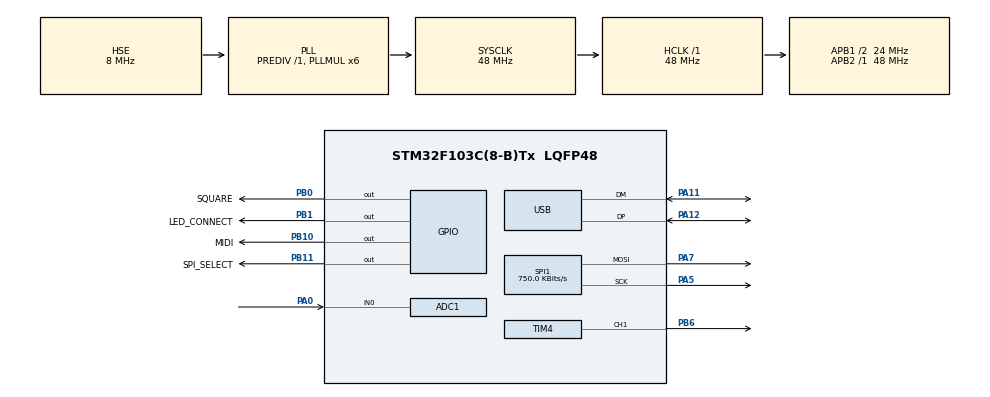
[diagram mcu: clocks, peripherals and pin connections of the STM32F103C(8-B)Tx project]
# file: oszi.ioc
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ADC1.Channel-0\#ChannelRegularConversion=ADC_CHANNEL_0
ADC1.NbrOfConversionFlag=1
ADC1.Rank-0\#ChannelRegularConversion=1
ADC1.SamplingTime-0\#ChannelRegularConversion=ADC_SAMPLETIME_1CYCLE_5
ADC1.master=1
Mcu.Family=STM32F1
Mcu.Name=STM32F103C(8-B)Tx
Mcu.Package=LQFP48
NVIC.ADC1_2_IRQn=true\:0\:0\:false\:false\:true\:true\:true
NVIC.PriorityGroup=NVIC_PRIORITYGROUP_4
NVIC.TIM2_IRQn=true\:0\:0\:false\:false\:true\:true\:true
NVIC.USB_LP_CAN1_RX0_IRQn=true\:0\:0\:false\:false\:true\:false\:true
PA0-WKUP.Signal=ADCx_IN0
PA11.Mode=Device
PA11.Signal=USB_DM
PA12.Mode=Device
PA12.Signal=USB_DP
PA13.Mode=Serial_Wire
PA13.Signal=SYS_JTMS-SWDIO
PA14.Mode=Serial_Wire
PA14.Signal=SYS_JTCK-SWCLK
PA5.Mode=TX_Only_Simplex_Unidirect_Master
PA5.Signal=SPI1_SCK
PA7.Mode=TX_Only_Simplex_Unidirect_Master
PA7.Signal=SPI1_MOSI
PB0.GPIO_Label=SQUARE
PB0.GPIO_PuPd=GPIO_PULLDOWN
PB0.GPIO_Speed=GPIO_SPEED_FREQ_HIGH
PB0.Signal=GPIO_Output
PB1.GPIO_Label=LED_CONNECT
PB1.Signal=GPIO_Output
PB10.GPIO_Label=MIDI
PB10.Signal=GPIO_Output
PB11.GPIO_Label=SPI_SELECT
PB11.GPIO_PuPd=GPIO_PULLUP
PB11.PinState=GPIO_PIN_SET
PB11.Signal=GPIO_Output
PB6.Signal=S_TIM4_CH1
PC14-OSC32_IN.Mode=LSE-External-Oscillator
PC14-OSC32_IN.Signal=RCC_OSC32_IN
PC15-OSC32_OUT.Mode=LSE-External-Oscillator
PC15-OSC32_OUT.Signal=RCC_OSC32_OUT
PD0-OSC_IN.Mode=HSE-External-Oscillator
PD0-OSC_IN.Signal=RCC_OSC_IN
PD1-OSC_OUT.Mode=HSE-External-Oscillator
PD1-OSC_OUT.Signal=RCC_OSC_OUT
ProjectManager.HeapSize=0x200
ProjectManager.StackSize=0x400
ProjectManager.TargetToolchain=Makefile
RCC.ADCPresc=RCC_ADCPCLK2_DIV4
RCC.AHBFreq_Value=48000000
RCC.APB1CLKDivider=RCC_HCLK_DIV2
RCC.APB1Freq_Value=24000000
RCC.APB1TimFreq_Value=48000000
RCC.APB2Freq_Value=48000000
RCC.APB2TimFreq_Value=48000000
RCC.HCLKFreq_Value=48000000
RCC.PLLMUL=RCC_PLL_MUL6
RCC.SYSCLKFreq_VALUE=48000000
RCC.SYSCLKSource=RCC_SYSCLKSOURCE_PLLCLK
RCC.USBFreq_Value=48000000
SH.ADCx_IN0.0=ADC1_IN0,IN0
SH.S_TIM4_CH1.0=TIM4_CH1,PWM Generation1 CH1
SPI1.BaudRatePrescaler=SPI_BAUDRATEPRESCALER_64
SPI1.CalculateBaudRate=750.0 KBits/s
SPI1.DataSize=SPI_DATASIZE_16BIT
SPI1.Direction=SPI_DIRECTION_2LINES
SPI1.Mode=SPI_MODE_MASTER
SPI1.VirtualType=VM_MASTER
TIM2.AutoReloadPreload=TIM_AUTORELOAD_PRELOAD_ENABLE
TIM2.Period=1000
TIM2.Prescaler=48
TIM4.AutoReloadPreload=TIM_AUTORELOAD_PRELOAD_ENABLE
TIM4.Channel-PWM\ Generation1\ CH1=TIM_CHANNEL_1
TIM4.OCFastMode_PWM-PWM\ Generation1\ CH1=TIM_OCFAST_ENABLE
TIM4.Period=1136 -1
TIM4.Prescaler=96 - 1
TIM4.Pulse-PWM\ Generation1\ CH1=10
TIM4.TIM_MasterOutputTrigger=TIM_TRGO_UPDATE
USB_DEVICE.CLASS_NAME_FS=CDC
USB_DEVICE.MANUFACTURER_STRING=elektrophon
USB_DEVICE.PRODUCT_STRING_CDC_FS=oszillator
USB_DEVICE.VirtualMode=Cdc
USB_DEVICE.VirtualModeFS=Cdc_FS
VP_TIM2_VS_ClockSourceINT.Mode=Internal
VP_TIM4_VS_ClockSourceINT.Mode=Internal
VP_USB_DEVICE_VS_USB_DEVICE_CDC_FS.Mode=CDC_FS
board=custom

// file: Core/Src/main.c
/* USER CODE BEGIN Header */
/**
  ******************************************************************************
  * @file           : main.c
  * @brief          : Main program body
  ******************************************************************************
  * @attention
  *
  * <h2><center>&copy; Copyright (c) 2021 STMicroelectronics.
  * All rights reserved.</center></h2>
  *
  * This software component is licensed by ST under Ultimate Liberty license
  * SLA0044, the "License"; You may not use this file except in compliance with
  * the License. You may obtain a copy of the License at:
  *                             www.st.com/SLA0044
  *
  ******************************************************************************
  */
/* USER CODE END Header */
#include "main.h"
#include "usb_device.h"

/* USER CODE BEGIN Includes */
#include "usbd_midi_if.h"
#include <math.h>
/* USER CODE END Includes */

/* USER CODE BEGIN PTD */
#define SPI_DAC_MULTIPLIER 0.552824907636779 // see spreadsheet
extern USBD_HandleTypeDef hUsbDeviceFS;
/* USER CODE END PTD */

ADC_HandleTypeDef hadc1;

SPI_HandleTypeDef hspi1;

TIM_HandleTypeDef htim2;
TIM_HandleTypeDef htim4;

void SystemClock_Config(void);
static void MX_GPIO_Init(void);
static void MX_TIM4_Init(void);
static void MX_TIM2_Init(void);
static void MX_ADC1_Init(void);
static void MX_SPI1_Init(void);

/* USER CODE BEGIN 0 */
void write_dac(float _freq) {
  float value = SPI_DAC_MULTIPLIER * _freq;
  uint16_t word[1];
  word[0] = value;
  word[0] |= 0x1000;

  // write data to register
  HAL_GPIO_WritePin (SPI_SELECT_GPIO_Port, SPI_SELECT_Pin, GPIO_PIN_RESET);  // pull the cs pin low
  if (HAL_SPI_Transmit (&hspi1, (uint8_t *)word, 2, 100) != HAL_OK) {
    Error_Handler();
  }
  HAL_GPIO_WritePin (SPI_SELECT_GPIO_Port, SPI_SELECT_Pin, GPIO_PIN_SET);  // pull the cs pin high
}
void note_on(uint8_t channel, uint8_t note, uint8_t velocity) {
        HAL_GPIO_WritePin(MIDI_GPIO_Port, MIDI_Pin, SET);
         float prescaler = 96;
         float cpu_freq = 48000000;
         float _note = note-69;
         float _freq = pow(2, (_note) / 12) * 440;
         float _arr = (cpu_freq / prescaler) / _freq;
         TIM4->ARR =  ((int)_arr) - 1;
         write_dac(_freq);
}
void note_off(uint8_t channel, uint8_t note, uint8_t velocity) {
        HAL_GPIO_WritePin(MIDI_GPIO_Port, MIDI_Pin, RESET);
}
void midi_process() {

	// for( unsigned char i = 0; i<MIDI_CHANNELS; i++ ) {
	// 	if( trigger_timer[i] != 0 && trigger_timer[i] < HAL_GetTick() ) {
	// 		HAL_GPIO_WritePin(SIG_TRIGGER_1_GPIO_Port, SIG_TRIGGER_1_Pin, SET);
	// 		trigger_timer[i] = 0;
	// 	}
	// }
}
/* USER CODE END 0 */

int main(void)
{

  /* MCU Configuration--------------------------------------------------------*/

  /* Reset of all peripherals, Initializes the Flash interface and the Systick. */
  HAL_Init();

  /* Configure the system clock */
  SystemClock_Config();

  /* Initialize all configured peripherals */
  MX_GPIO_Init();
  MX_TIM4_Init();
  MX_USB_DEVICE_Init();
  MX_TIM2_Init();
  MX_ADC1_Init();
  MX_SPI1_Init();
  /* USER CODE BEGIN 2 */
  HAL_GPIO_TogglePin(SQUARE_GPIO_Port, SQUARE_Pin);
  HAL_GPIO_WritePin(MIDI_GPIO_Port, MIDI_Pin, SET);
  HAL_GPIO_WritePin(LED_CONNECT_GPIO_Port, LED_CONNECT_Pin, SET);
  HAL_Delay(1000);
  HAL_GPIO_TogglePin(SQUARE_GPIO_Port, SQUARE_Pin);
  HAL_GPIO_WritePin(MIDI_GPIO_Port, MIDI_Pin, RESET);

  mimuz_init();

  //register the MIDI call backs
  setHdlNoteOff(note_off);
  setHdlNoteOn(note_on);

  //  HAL_TIM_Base_Start_IT(&htim4);
  HAL_TIM_Base_Start(&htim4);
  HAL_TIM_PWM_Init(&htim4);
  HAL_TIM_PWM_Start(&htim4, TIM_CHANNEL_1);

  HAL_TIM_Base_Start_IT(&htim2);
  /* USER CODE END 2 */

  /* Infinite loop */
  while (1)
  {

  }
}

void SystemClock_Config(void)
{
  RCC_OscInitTypeDef RCC_OscInitStruct = {0};
  RCC_ClkInitTypeDef RCC_ClkInitStruct = {0};
  RCC_PeriphCLKInitTypeDef PeriphClkInit = {0};

  /** Initializes the RCC Oscillators according to the specified parameters
  * in the RCC_OscInitTypeDef structure.
  */
  RCC_OscInitStruct.OscillatorType = RCC_OSCILLATORTYPE_HSE;
  RCC_OscInitStruct.HSEState = RCC_HSE_ON;
  RCC_OscInitStruct.HSEPredivValue = RCC_HSE_PREDIV_DIV1;
  RCC_OscInitStruct.HSIState = RCC_HSI_ON;
  RCC_OscInitStruct.PLL.PLLState = RCC_PLL_ON;
  RCC_OscInitStruct.PLL.PLLSource = RCC_PLLSOURCE_HSE;
  RCC_OscInitStruct.PLL.PLLMUL = RCC_PLL_MUL6;
  if (HAL_RCC_OscConfig(&RCC_OscInitStruct) != HAL_OK)
  {
    Error_Handler();
  }
  /** Initializes the CPU, AHB and APB buses clocks
  */
  RCC_ClkInitStruct.ClockType = RCC_CLOCKTYPE_HCLK|RCC_CLOCKTYPE_SYSCLK
                              |RCC_CLOCKTYPE_PCLK1|RCC_CLOCKTYPE_PCLK2;
  RCC_ClkInitStruct.SYSCLKSource = RCC_SYSCLKSOURCE_PLLCLK;
  RCC_ClkInitStruct.AHBCLKDivider = RCC_SYSCLK_DIV1;
  RCC_ClkInitStruct.APB1CLKDivider = RCC_HCLK_DIV2;
  RCC_ClkInitStruct.APB2CLKDivider = RCC_HCLK_DIV1;

  if (HAL_RCC_ClockConfig(&RCC_ClkInitStruct, FLASH_LATENCY_1) != HAL_OK)
  {
    Error_Handler();
  }
  PeriphClkInit.PeriphClockSelection = RCC_PERIPHCLK_ADC|RCC_PERIPHCLK_USB;
  PeriphClkInit.AdcClockSelection = RCC_ADCPCLK2_DIV4;
  PeriphClkInit.UsbClockSelection = RCC_USBCLKSOURCE_PLL;
  if (HAL_RCCEx_PeriphCLKConfig(&PeriphClkInit) != HAL_OK)
  {
    Error_Handler();
  }
}

static void MX_ADC1_Init(void)
{

  ADC_ChannelConfTypeDef sConfig = {0};

  /** Common config
  */
  hadc1.Instance = ADC1;
  hadc1.Init.ScanConvMode = ADC_SCAN_DISABLE;
  hadc1.Init.ContinuousConvMode = DISABLE;
  hadc1.Init.DiscontinuousConvMode = DISABLE;
  hadc1.Init.ExternalTrigConv = ADC_SOFTWARE_START;
  hadc1.Init.DataAlign = ADC_DATAALIGN_RIGHT;
  hadc1.Init.NbrOfConversion = 1;
  if (HAL_ADC_Init(&hadc1) != HAL_OK)
  {
    Error_Handler();
  }
  /** Configure Regular Channel
  */
  sConfig.Channel = ADC_CHANNEL_0;
  sConfig.Rank = ADC_REGULAR_RANK_1;
  sConfig.SamplingTime = ADC_SAMPLETIME_1CYCLE_5;
  if (HAL_ADC_ConfigChannel(&hadc1, &sConfig) != HAL_OK)
  {
    Error_Handler();
  }

}

static void MX_SPI1_Init(void)
{

  /* SPI1 parameter configuration*/
  hspi1.Instance = SPI1;
  hspi1.Init.Mode = SPI_MODE_MASTER;
  hspi1.Init.Direction = SPI_DIRECTION_2LINES;
  hspi1.Init.DataSize = SPI_DATASIZE_16BIT;
  hspi1.Init.CLKPolarity = SPI_POLARITY_LOW;
  hspi1.Init.CLKPhase = SPI_PHASE_1EDGE;
  hspi1.Init.NSS = SPI_NSS_SOFT;
  hspi1.Init.BaudRatePrescaler = SPI_BAUDRATEPRESCALER_64;
  hspi1.Init.FirstBit = SPI_FIRSTBIT_MSB;
  hspi1.Init.TIMode = SPI_TIMODE_DISABLE;
  hspi1.Init.CRCCalculation = SPI_CRCCALCULATION_DISABLE;
  hspi1.Init.CRCPolynomial = 10;
  if (HAL_SPI_Init(&hspi1) != HAL_OK)
  {
    Error_Handler();
  }

}

static void MX_TIM2_Init(void)
{

  TIM_ClockConfigTypeDef sClockSourceConfig = {0};
  TIM_MasterConfigTypeDef sMasterConfig = {0};

  htim2.Instance = TIM2;
  htim2.Init.Prescaler = 48;
  htim2.Init.CounterMode = TIM_COUNTERMODE_UP;
  htim2.Init.Period = 1000;
  htim2.Init.ClockDivision = TIM_CLOCKDIVISION_DIV1;
  htim2.Init.AutoReloadPreload = TIM_AUTORELOAD_PRELOAD_ENABLE;
  if (HAL_TIM_Base_Init(&htim2) != HAL_OK)
  {
    Error_Handler();
  }
  sClockSourceConfig.ClockSource = TIM_CLOCKSOURCE_INTERNAL;
  if (HAL_TIM_ConfigClockSource(&htim2, &sClockSourceConfig) != HAL_OK)
  {
    Error_Handler();
  }
  sMasterConfig.MasterOutputTrigger = TIM_TRGO_RESET;
  sMasterConfig.MasterSlaveMode = TIM_MASTERSLAVEMODE_DISABLE;
  if (HAL_TIMEx_MasterConfigSynchronization(&htim2, &sMasterConfig) != HAL_OK)
  {
    Error_Handler();
  }

}

static void MX_TIM4_Init(void)
{

  TIM_ClockConfigTypeDef sClockSourceConfig = {0};
  TIM_MasterConfigTypeDef sMasterConfig = {0};
  TIM_OC_InitTypeDef sConfigOC = {0};

  htim4.Instance = TIM4;
  htim4.Init.Prescaler = 96 - 1;
  htim4.Init.CounterMode = TIM_COUNTERMODE_UP;
  htim4.Init.Period = 1136 -1;
  htim4.Init.ClockDivision = TIM_CLOCKDIVISION_DIV1;
  htim4.Init.AutoReloadPreload = TIM_AUTORELOAD_PRELOAD_ENABLE;
  if (HAL_TIM_Base_Init(&htim4) != HAL_OK)
  {
    Error_Handler();
  }
  sClockSourceConfig.ClockSource = TIM_CLOCKSOURCE_INTERNAL;
  if (HAL_TIM_ConfigClockSource(&htim4, &sClockSourceConfig) != HAL_OK)
  {
    Error_Handler();
  }
  if (HAL_TIM_PWM_Init(&htim4) != HAL_OK)
  {
    Error_Handler();
  }
  sMasterConfig.MasterOutputTrigger = TIM_TRGO_UPDATE;
  sMasterConfig.MasterSlaveMode = TIM_MASTERSLAVEMODE_DISABLE;
  if (HAL_TIMEx_MasterConfigSynchronization(&htim4, &sMasterConfig) != HAL_OK)
  {
    Error_Handler();
  }
  sConfigOC.OCMode = TIM_OCMODE_PWM1;
  sConfigOC.Pulse = 10;
  sConfigOC.OCPolarity = TIM_OCPOLARITY_HIGH;
  sConfigOC.OCFastMode = TIM_OCFAST_ENABLE;
  if (HAL_TIM_PWM_ConfigChannel(&htim4, &sConfigOC, TIM_CHANNEL_1) != HAL_OK)
  {
    Error_Handler();
  }
  HAL_TIM_MspPostInit(&htim4);

}

static void MX_GPIO_Init(void)
{
  GPIO_InitTypeDef GPIO_InitStruct = {0};

  /* GPIO Ports Clock Enable */
  __HAL_RCC_GPIOC_CLK_ENABLE();
  __HAL_RCC_GPIOD_CLK_ENABLE();
  __HAL_RCC_GPIOA_CLK_ENABLE();
  __HAL_RCC_GPIOB_CLK_ENABLE();

  /*Configure GPIO pin Output Level */
  HAL_GPIO_WritePin(GPIOB, SQUARE_Pin|LED_CONNECT_Pin|MIDI_Pin, GPIO_PIN_RESET);

  /*Configure GPIO pin Output Level */
  HAL_GPIO_WritePin(SPI_SELECT_GPIO_Port, SPI_SELECT_Pin, GPIO_PIN_SET);

  /*Configure GPIO pin : SQUARE_Pin */
  GPIO_InitStruct.Pin = SQUARE_Pin;
  GPIO_InitStruct.Mode = GPIO_MODE_OUTPUT_PP;
  GPIO_InitStruct.Pull = GPIO_PULLDOWN;
  GPIO_InitStruct.Speed = GPIO_SPEED_FREQ_HIGH;
  HAL_GPIO_Init(SQUARE_GPIO_Port, &GPIO_InitStruct);

  /*Configure GPIO pins : LED_CONNECT_Pin MIDI_Pin */
  GPIO_InitStruct.Pin = LED_CONNECT_Pin|MIDI_Pin;
  GPIO_InitStruct.Mode = GPIO_MODE_OUTPUT_PP;
  GPIO_InitStruct.Pull = GPIO_NOPULL;
  GPIO_InitStruct.Speed = GPIO_SPEED_FREQ_LOW;
  HAL_GPIO_Init(GPIOB, &GPIO_InitStruct);

  /*Configure GPIO pin : SPI_SELECT_Pin */
  GPIO_InitStruct.Pin = SPI_SELECT_Pin;
  GPIO_InitStruct.Mode = GPIO_MODE_OUTPUT_PP;
  GPIO_InitStruct.Pull = GPIO_PULLUP;
  GPIO_InitStruct.Speed = GPIO_SPEED_FREQ_LOW;
  HAL_GPIO_Init(SPI_SELECT_GPIO_Port, &GPIO_InitStruct);

}

void Error_Handler(void)
{
  __disable_irq();
  while (1)
  {
  }
}

/************************ (C) COPYRIGHT STMicroelectronics *****END OF FILE****/
